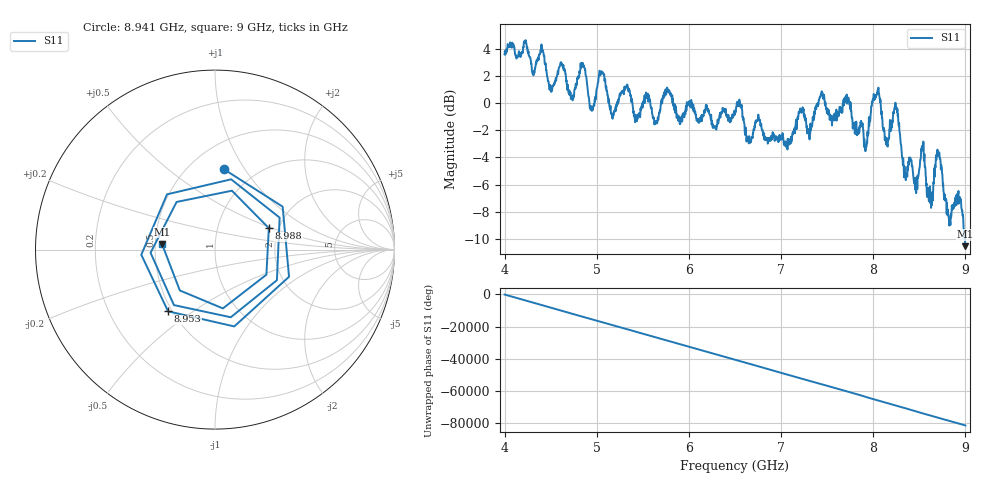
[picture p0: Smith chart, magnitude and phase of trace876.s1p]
! Created with skrf 1.8.0 (http://scikit-rf.org).
# Hz S RI R 50.0
!freq ReS11 ImS11
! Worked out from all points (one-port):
!   1601 points, 4 GHz to 9 GHz, reference 50 ohm
!   lowest |S11| = -10.6 dB at 9 GHz (marker M1), VSWR 1.84, Z = 27.2 + j1.84 ohm
!   |S11| at or under -10 dB: 8.995392 GHz to end of sweep
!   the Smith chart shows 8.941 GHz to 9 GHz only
!   S11 on the Smith chart (normalised r, x): 8.941 GHz: 0.72, +0.81; 8.953 GHz: 0.48, -0.40; 8.988 GHz: 1.78, +0.47; 9 GHz: 0.54, +0.04
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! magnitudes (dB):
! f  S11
! 4 GHz  3.6
! 4.406 GHz  4.2
! 4.506 GHz  0.9
! 4.625 GHz  2.8
! 4.728 GHz  0.3
! 4.85 GHz  3.0
! 4.947 GHz  -0.6
! 5.05 GHz  2.3
! 5.162 GHz  -0.7
! 5.25 GHz  0.7
! 5.875 GHz  -0.8
! 6.5 GHz  -0.8
! 7.125 GHz  -2.2
! 7.441 GHz  0.9
! 7.75 GHz  -0.4
! 7.922 GHz  -3.2
! 8.031 GHz  0.5
! 8.147 GHz  -2.6
! 8.244 GHz  -0.2
! 8.375 GHz  -5.0
! 8.538 GHz  -3.2
! 8.625 GHz  -7.2
! 8.706 GHz  -3.7
! 8.822 GHz  -8.6
! 8.941 GHz  -6.9
! 8.953 GHz  -7.3
! 8.988 GHz  -9.8
! 9 GHz  -10.6
